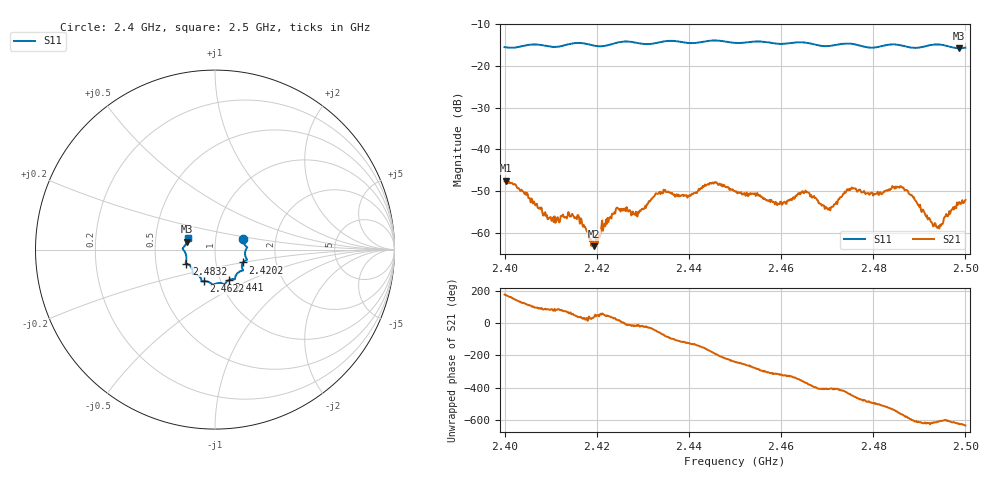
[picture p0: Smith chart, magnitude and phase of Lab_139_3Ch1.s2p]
# Hz S RI R 50
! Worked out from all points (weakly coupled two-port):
!   601 points, 2.4 GHz to 2.5 GHz, reference 50 ohm
!   highest |S21| = -47.51 dB at 2.4003 GHz (marker M1); lowest = -63.2 dB at 2.4193 GHz (marker M2)
!   lowest |S11| = -15.8 dB at 2.4987 GHz (marker M3), VSWR 1.39, Z = 36.4 + j3.32 ohm
!   |S11| at or under -10 dB: start of sweep to end of sweep
!   S12 and S22 are empty: the file has one direction only
!   S11 on the Smith chart (normalised r, x): 2.4 GHz: 1.36, +0.17; 2.4202 GHz: 1.35, -0.20; 2.441 GHz: 1.09, -0.39; 2.4622 GHz: 0.83, -0.30; 2.4832 GHz: 0.72, -0.12; 2.5 GHz: 0.73, +0.09
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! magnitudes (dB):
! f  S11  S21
! 2.4 GHz  -15.5  -47.7
! 2.4003 GHz  -15.6  -47.5
! 2.4098 GHz  -15.4  -56.3
! 2.4167 GHz  -14.6  -56.8
! 2.4193 GHz  -15.2  -63.2
! 2.4202 GHz  -15.3  -62.6
! 2.4243 GHz  -14.5  -54.0
! 2.4287 GHz  -14.5  -55.9
! 2.4333 GHz  -14.4  -50.7
! 2.441 GHz  -14.6  -50.6
! 2.4455 GHz  -13.9  -48.1
! 2.45 GHz  -14.5  -50.0
! 2.4622 GHz  -14.5  -51.9
! 2.4667 GHz  -14.7  -51.6
! 2.4703 GHz  -15.3  -54.4
! 2.4748 GHz  -14.7  -49.5
! 2.4832 GHz  -15.0  -50.0
! 2.4833 GHz  -15.0  -49.7
! 2.487 GHz  -15.3  -49.8
! 2.4942 GHz  -14.9  -58.4
! 2.4987 GHz  -15.8  -52.6
! 2.5 GHz  -15.6  -52.2
